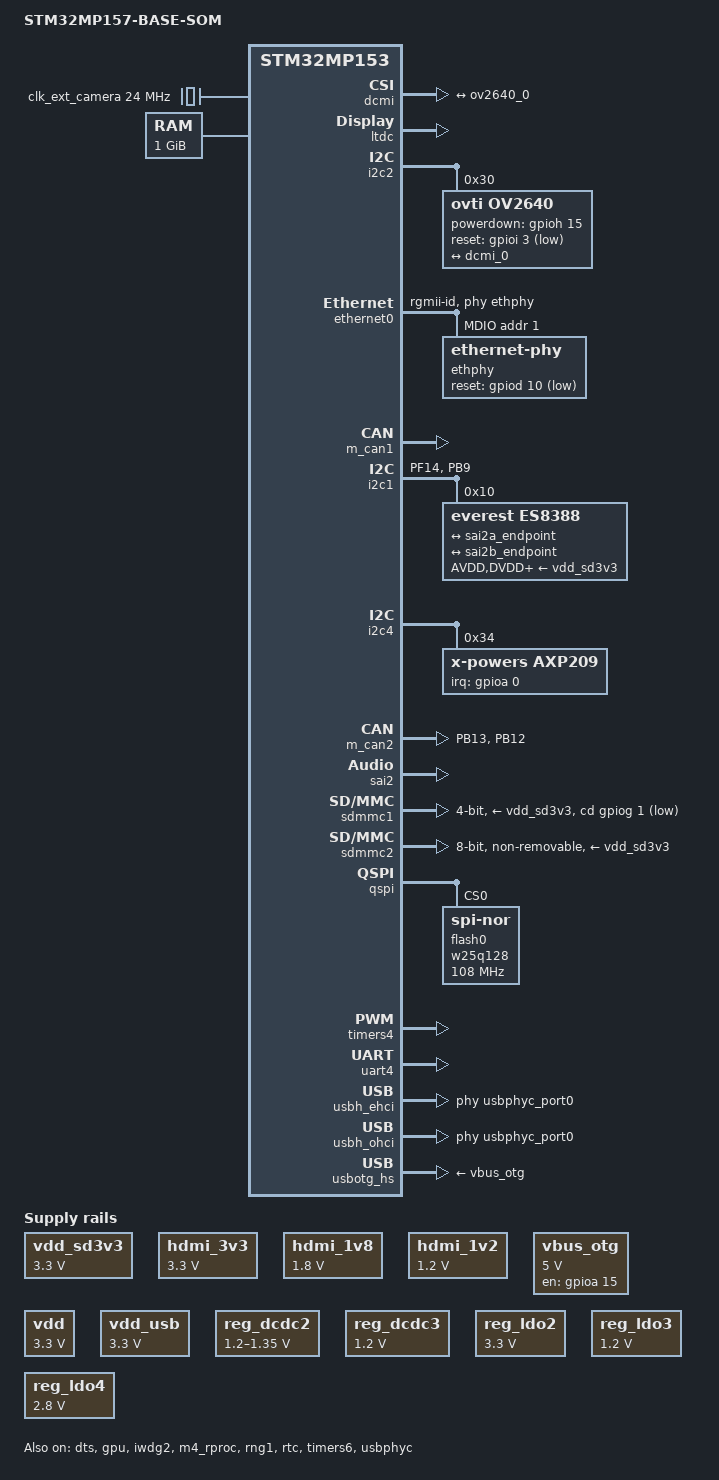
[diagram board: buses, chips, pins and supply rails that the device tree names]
// SPDX-License-Identifier: (GPL-2.0+ OR BSD-3-Clause)
/*
 * 
 * Author: Mitko Gamishev <gamishev@gmail.com>
 */
/dts-v1/;

#include "stm32mp157.dtsi"
#include "stm32mp15xc.dtsi"
#include "stm32mp15-pinctrl.dtsi"
#include "stm32mp15xxaa-pinctrl.dtsi"

#include <dt-bindings/gpio/gpio.h>
#include <dt-bindings/mfd/st,stpmic1.h>

/ {
	model = "STM32MP157-BASE-SOM";
	compatible = "olimex,stm32mp1xx-olinuxino-som-base" , "st,stm32mp153";
	aliases {
		ethernet0 = &ethernet0;
		serial0 = &uart4;
	};

	clocks {
                clk_ext_camera: clk-ext-camera {
                        #clock-cells = <0>;
                        compatible = "fixed-clock";
                        clock-frequency = <24000000>;
                };
        };

	chosen {
		stdout-path = "serial0:115200n8";
	};

	memory@c0000000 {
		device_type = "memory";
		reg = <0xC0000000 0x40000000>;
	};

	reserved-memory {
		#address-cells = <1>;
		#size-cells = <1>;
		ranges;

		mcuram2: mcuram2@10000000 {
			compatible = "shared-dma-pool";
			reg = <0x10000000 0x40000>;
			no-map;
		};

		vdev0vring0: vdev0vring0@10040000 {
			compatible = "shared-dma-pool";
			reg = <0x10040000 0x1000>;
			no-map;
		};

		vdev0vring1: vdev0vring1@10041000 {
			compatible = "shared-dma-pool";
			reg = <0x10041000 0x1000>;
			no-map;
		};

		vdev0buffer: vdev0buffer@10042000 {
			compatible = "shared-dma-pool";
			reg = <0x10042000 0x4000>;
			no-map;
		};

		mcuram: mcuram@30000000 {
			compatible = "shared-dma-pool";
			reg = <0x30000000 0x40000>;
			no-map;
		};

		retram: retram@38000000 {
			compatible = "shared-dma-pool";
			reg = <0x38000000 0x10000>;
			no-map;
		};

		gpu_reserved: gpu@e8000000 {
			reg = <0xe8000000 0x8000000>;
			no-map;
		};
	};

	vdd_sd3v3: regulator_vdd {
		compatible = "regulator-fixed";
		regulator-name = "vdd-sd";
		regulator-min-microvolt = <3300000>;
		regulator-max-microvolt = <3300000>;
		enable-active-high;
		regulator-always-on;
		regulator-initial-mode = <0>;
	};

	hdmi_3v3: regulator_hdmi {
		compatible = "regulator-fixed";
		regulator-name = "vdd-hdmi";
		regulator-min-microvolt = <3300000>;
		regulator-max-microvolt = <3300000>;
		enable-active-high;
		regulator-always-on;
		regulator-initial-mode = <0>;
	};

	hdmi_1v8: regulator_hdmi1v8 {
		compatible = "regulator-fixed";
		regulator-name = "vdd-hdmi1v8";
		regulator-min-microvolt = <1800000>;
		regulator-max-microvolt = <1800000>;
		enable-active-high;
		regulator-always-on;
		regulator-initial-mode = <0>;
	};


	hdmi_1v2: regulator_hdmi1v2 {
		compatible = "regulator-fixed";
		regulator-name = "vdd-hdmi1v2";
		regulator-min-microvolt = <1200000>;
		regulator-max-microvolt = <1200000>;
		enable-active-high;
		regulator-always-on;
		regulator-initial-mode = <0>;
	};


	vbus_otg: regulator_otg {
		compatible = "regulator-fixed";
		regulator-name = "vdd-otg";
		regulator-min-microvolt = <5000000>;
		regulator-max-microvolt = <5000000>;
		gpios = <&gpioa 15 GPIO_ACTIVE_LOW>;
		enable-active-high;
		regulator-initial-mode = <0>;
	};

	vdd: vdd {
		compatible = "regulator-fixed";
		regulator-name = "vdd";
		regulator-min-microvolt = <3300000>;
		regulator-max-microvolt = <3300000>;
		enable-active-high;
		regulator-always-on;
		regulator-initial-mode = <0>;
	};

	vdd_usb: vdd-usb {
		compatible = "regulator-fixed";
		regulator-name = "vdd-usb";
		regulator-min-microvolt = <3300000>;
		regulator-max-microvolt = <3300000>;
		enable-active-high;
		regulator-always-on;
		regulator-initial-mode = <0>;
	};
	
	sound {
                compatible = "audio-graph-card";
                label = "STM32MP1";
                routing =
                        "Playback" , "MCLK1",
			"Capture" , "MCLK1" ;
			
		dais = <&sai2a_port &sai2b_port>;
                status = "okay";
        };

};

&dcmi {
        status = "okay";
        pinctrl-names = "default", "sleep";
        pinctrl-0 = <&dcmi_pins_a>;
        pinctrl-1 = <&dcmi_sleep_pins_a>;

        port {
                dcmi_0: endpoint {
                        remote-endpoint = <&ov2640_0>;
                        bus-width = <8>;
                        hsync-active = <1>;
                        vsync-active = <0>;
                        pclk-sample = <1>;
                };
        };
};

&dts {
	status = "okay";
};

&ltdc {
	pinctrl-names = "default", "sleep";
	pinctrl-0 = <&ltdc_pins_b>;
	pinctrl-1 = <&ltdc_sleep_pins_b>;
	status = "okay";
};

&i2c2 {
        pinctrl-names = "default", "sleep";
        pinctrl-0 = <&i2c2_pins_a>;
        status = "okay";

        ov2640: camera@30 {
                compatible = "ovti,ov2640";
                reg = <0x30>;
		pinctrl-names = "default";
                pinctrl-0 = <&mco1_pin_a>;
		clocks = <&rcc CK_MCO1>;
		assigned-clock-rates = <24000000>;
                clock-names = "xvclk";

                powerdown-gpios = <&gpioh 15 (GPIO_ACTIVE_HIGH | GPIO_PUSH_PULL)>;
                reset-gpios = <&gpioi 3  (GPIO_ACTIVE_LOW | GPIO_PUSH_PULL)>;
                status = "okay";

                port {
                        ov2640_0: endpoint {
                                remote-endpoint = <&dcmi_0>;
                                bus-width = <8>;
                                hsync-active = <1>;
                                vsync-active = <0>;
                                pclk-sample = <1>;
                        };
                };
        };
};

&ethernet0 {
	status = "okay";
	pinctrl-0 = <&ethernet0_rgmii_pins_a>;
	pinctrl-1 = <&ethernet0_rgmii_sleep_pins_a>;
	pinctrl-names = "default", "sleep";
	phy-mode = "rgmii-id";
	phy-handle = <&ethphy>;

	mdio0 {
		compatible = "snps,dwmac-mdio";
		#address-cells = <1>;
		#size-cells = <0>;
		ethphy: ethernet-phy@1 {
			reg = <1>;
			reset-gpios = <&gpiod 10 GPIO_ACTIVE_LOW>; /* ETH_RST# */
			reset-assert-us = <10000>;
			reset-deassert-us = <300>;
			micrel,force-master;
		};
	};
};

&gpu {
	contiguous-area = <&gpu_reserved>;
	status = "okay";
};

&m_can1 {
	pinctrl-names = "default", "sleep";
	pinctrl-0 = <&m_can1_pins_a>;
	pinctrl-1 = <&m_can1_sleep_pins_a>;
	status = "okay";
};

&i2c1 {
	pinctrl-names = "default";
	pinctrl-0 = <&i2c1_pins_lime>;
	i2c-scl-rising-time-ns = <185>;
	i2c-scl-falling-time-ns = <20>;
	status = "okay";
	/* spare dmas for other usage */
	/delete-property/dmas;
	/delete-property/dma-names;
};

&i2c4 {
	pinctrl-names = "default";
	pinctrl-0 = <&i2c4_pins_a>;
	i2c-scl-rising-time-ns = <185>;
	i2c-scl-falling-time-ns = <20>;
	status = "okay";
	/* spare dmas for other usage */
	/delete-property/dmas;
	/delete-property/dma-names;
	/* it66121hdmitx: it66121hdmitx@4d {
                compatible = "ite,it66121";
                interrupts = <8 2>;
                interrupt-parent = <&gpioi>;
                vcn33-supply = <&hdmi_3v3>;
                vcn18-supply = <&hdmi_1v8>;
                vrf12-supply = <&hdmi_1v2>;
                reset-gpios = <&gpiof 3  GPIO_ACTIVE_LOW >;
                reg = <0x4d>;
                pclk-dual-edge;

                port {
                        it66121_in: endpoint {
                                remote-endpoint = <&ltdc_ep0_out>;
                        };
                };
        };
	*/
	axp209: pmic@34 {
		compatible = "x-powers,axp209";
		reg = <0x34>;
		interrupt-parent = <&gpioa>;
		interrupts = <0 IRQ_TYPE_LEVEL_LOW>;
	};
 
};

&m_can1 {
        pinctrl-names = "default", "sleep";
        pinctrl-0 = <&m_can1_pins_a>;
        pinctrl-1 = <&m_can1_sleep_pins_a>;
        status = "okay";
};

&m_can2 {
        pinctrl-names = "default", "sleep";
        pinctrl-0 = <&m_can2_pins_base>;
        pinctrl-1 = <&m_can2_sleep_pins_base>;
        status = "okay";
};

&sai2 {
        clocks = <&rcc SAI2>, <&rcc PLL3_Q>, <&rcc PLL3_R>;
        clock-names = "pclk", "x8k", "x11k";
        pinctrl-names = "default", "sleep";
        pinctrl-0 = <&sai2a_pins_a>, <&sai2b_pins_b>;
        pinctrl-1 = <&sai2a_sleep_pins_a>, <&sai2b_sleep_pins_b>;
        status = "okay";

	sai2a: audio-controller@4400b004 {
		compatible = "st,stm32-sai-sub-a";
                #clock-cells = <0>;
                dma-names = "tx";
                clocks = <&rcc SAI2_K>;
                clock-names = "sai_ck";
                status = "okay";
 
          
      		sai2a_port: port {
                        sai2a_endpoint: endpoint {
                                remote-endpoint = <&es8388_tx_endpoint>;
                                format = "i2s";
				mclk-fs = <256>;
                        };
			
                };
        };

    	sai2b: audio-controller@4400b024 {
                dma-names = "rx";
				compatible = "st,stm32-sai-sub-b";
                //st,sync = <&sai2a 2>;
                clocks = <&rcc SAI2_K>, <&sai2a>;
                clock-names = "sai_ck", "MCLK";
                status = "okay";

                sai2b_port: port {
                        sai2b_endpoint: endpoint {
                                remote-endpoint = <&es8388_rx_endpoint>;
                                format = "i2s";
                                mclk-fs = <256>;
                        };
                };
        };

};

&pinctrl {
        i2c1_pins_base: i2c1-0-base {
                pins {
                        pinmux = <STM32_PINMUX('F', 14, AF5)>, /* I2C1_SCL */
                                 <STM32_PINMUX('B', 9, AF4)>; /* I2C1_SDA */
                        bias-disable;
                        drive-open-drain;
                        slew-rate = <0>;
                };
        };

        i2c1_sleep_pins_base: i2c1-sleep-base {
                pins {
                        pinmux = <STM32_PINMUX('F', 14, ANALOG)>, /* I2C1_SCL */
                                 <STM32_PINMUX('B', 9, ANALOG)>; /* I2C1_SDA */
                };
        };
	
	m_can2_pins_base: m-can2-0 {
                pins1 {
                        pinmux = <STM32_PINMUX('B', 13, AF9)>; /* CAN2_TX */
                        slew-rate = <1>;
                        drive-push-pull;
                        bias-disable;
                };
                pins2 {
                        pinmux = <STM32_PINMUX('B', 12, AF9)>; /* CAN2_RX */
                        bias-disable;
                };
        };

        m_can2_sleep_pins_base: m_can2-sleep-0 {
                pins {
                        pinmux = <STM32_PINMUX('B', 13, ANALOG)>, /* CAN2_TX */
                                 <STM32_PINMUX('B', 12, ANALOG)>; /* CAN2_RX */
                };
        };
	
	 usart3_pins_base: usart3-3 {
                pins1 {
                        pinmux = <STM32_PINMUX('B', 10, AF7)>; /* USART3_TX */
                        bias-disable;
                        drive-push-pull;
                        slew-rate = <0>;
                };
                pins2 {
                        pinmux = <STM32_PINMUX('D', 9, AF7)>; /* USART3_RX */
                        bias-disable;
                };
        };

        usart3_idle_pins_base: usart3-idle-3 {
                pins1 {
                        pinmux = <STM32_PINMUX('B', 10, ANALOG)>; /* USART3_TX */
                };
                pins2 {
                        pinmux = <STM32_PINMUX('D', 9, AF7)>; /* USART3_RX */
                        bias-disable;
                };
        };
	
	 mco1_pin_a: mco1-pin-a {
                pins {
                pinmux = <STM32_PINMUX('A', 13, AF2)>;
              };
	};

};

&i2c1 {
        pinctrl-names = "default", "sleep";
        pinctrl-0 = <&i2c1_pins_base>;
        pinctrl-1 = <&i2c1_sleep_pins_base>;
        status = "okay";
        /delete-property/dmas;
        /delete-property/dma-names;
	
	es8388: es8388@10 {
                compatible = "everest,es8388", "everest,es8328";
                reg = <0x10>;
                AVDD-supply = <&vdd_sd3v3>;
                DVDD-supply = <&vdd_sd3v3>;
                HPVDD-supply = <&vdd_sd3v3>;
                PVDD-supply = <&vdd_sd3v3>;
                clocks = <&sai2a>; 
                clock-names = "MCLK1";
       		 es8388_port: port@0 {
                        #address-cells = <1>;
                        #size-cells = <0>;
                es8388_tx_endpoint: endpoint@0 {
					        remote-endpoint = <&sai2a_endpoint>;
                        };

				es8388_rx_endpoint: endpoint@1 {
                            remote-endpoint = <&sai2b_endpoint>;
                        };

                };
		
 
        };

};

&ipcc {
	status = "okay";
};

&iwdg2 {
	timeout-sec = <32>;
	status = "okay";
};

&m4_rproc {
	memory-region = <&retram>, <&mcuram>, <&mcuram2>, <&vdev0vring0>,
			<&vdev0vring1>, <&vdev0buffer>;
	mboxes = <&ipcc 0>, <&ipcc 1>, <&ipcc 2>;
	mbox-names = "vq0", "vq1", "shutdown";
	interrupt-parent = <&exti>;
	interrupts = <68 1>;
	status = "okay";
};

&pwr_regulators {
	vdd-supply = <&vdd>;
	vdd_3v3_usbfs-supply = <&vdd_usb>;
};
#include "axp209.dtsi"

&ac_power_supply {
	status = "okay";
};

&battery_power_supply {
	status = "okay";
};


&reg_dcdc2 {
	regulator-name = "vddcore";
	regulator-min-microvolt = <1200000>;
	regulator-max-microvolt = <1350000>;
	regulator-always-on;
};

&reg_dcdc3 {
	regulator-always-on;
	regulator-min-microvolt = <1200000>; //vdd-hdmi
	regulator-max-microvolt = <1200000>;
	regulator-name = "vcc-hdmi";
};

&reg_ldo1 {
	regulator-name = "vdd-rtc";
};

&reg_ldo2 {
	regulator-always-on;
	regulator-min-microvolt = <3300000>;
	regulator-max-microvolt = <3300000>;
	regulator-name = "avcc"; //avcc vcc-flash
};


&reg_ldo3 {
	regulator-always-on;
	regulator-min-microvolt = <1200000>;
	regulator-max-microvolt = <1200000>;
	regulator-name = "vcc-hdmi"; //avcc
};


&reg_ldo4 {
	regulator-always-on;
	regulator-min-microvolt = <2800000>;
	regulator-max-microvolt = <2800000>;
	regulator-name = "28v1"; //avcc
};


&rng1 {
	status = "okay";
};

&rtc {
	status = "okay";
};

&sdmmc1 {
        pinctrl-names = "default", "opendrain", "sleep";
        pinctrl-0 = <&sdmmc1_b4_pins_a>;
        pinctrl-1 = <&sdmmc1_b4_od_pins_a>;
        pinctrl-2 = <&sdmmc1_b4_sleep_pins_a>;
        cd-gpios = <&gpiog 1 (GPIO_ACTIVE_LOW | GPIO_PULL_UP)>;
        disable-wp;
	st,neg-edge;
        bus-width = <4>;
        vmmc-supply = <&vdd_sd3v3>;
        vqmmc-supply = <&vdd_sd3v3>;
        status = "okay";
};

&sdmmc2 {
	pinctrl-names = "default", "opendrain", "sleep";
	pinctrl-0 = <&sdmmc2_b4_pins_a &sdmmc2_d47_pins_a>;
	pinctrl-1 = <&sdmmc2_b4_od_pins_a &sdmmc2_d47_pins_a>;
	pinctrl-2 = <&sdmmc2_b4_sleep_pins_a &sdmmc2_d47_sleep_pins_a>;
	non-removable;
	st,neg-edge;
	bus-width = <8>;
	vmmc-supply = <&vdd_sd3v3>;
	vqmmc-supply = <&vdd_sd3v3>;
	status = "okay";
};

&qspi {
	pinctrl-names = "default", "sleep";
	pinctrl-0 = <&qspi_clk_pins_a &qspi_bk1_pins_a &qspi_bk2_pins_a>;
	pinctrl-1 = <&qspi_clk_sleep_pins_a &qspi_bk1_sleep_pins_a &qspi_bk2_sleep_pins_a>;
	reg = <0x58003000 0x1000>, <0x70000000 0x4000000>;
	#address-cells = <1>;
	#size-cells = <0>;
	status = "okay";

	flash0: w25q128@0 {
		compatible = "jedec,spi-nor", "winbond,w25q128";
		reg = <0>;
		spi-rx-bus-width = <4>;
		spi-max-frequency = <108000000>;
		#address-cells = <1>;
		#size-cells = <1>;
	};
};

&timers6 {
	status = "okay";
	/* spare dmas for other usage */
	/delete-property/dmas;
	/delete-property/dma-names;
	timer@5 {
		status = "okay";
	};
};

&timers4 {
	/delete-property/dmas;
	/delete-property/dma-names;
	status = "okay";

	pwm4: pwm {
		pinctrl-0 = <&pwm4_pins_b>;
		pinctrl-names = "default";
		status = "okay";
	};

	timer@1 {
		status = "okay";
	};
};

&uart4 {
	pinctrl-names = "default";
	pinctrl-0 = <&uart4_pins_a>;
	status = "okay";
};

&usbphyc {
	status = "okay";
};

&usbphyc_port0 {
	phy-supply = <&vdd_usb>;
};

&usbphyc_port1 {
	phy-supply = <&vdd_usb>;
};

&usbh_ehci {
	phys = <&usbphyc_port0>, <&usbphyc_port1 1>;
	phy-names = "usb", "usb";
	status = "okay";
};

&usbh_ohci {
	phys = <&usbphyc_port0>, <&usbphyc_port1 1>;
	phy-names = "usb", "usb";
	status = "okay";
};

&usbotg_hs {
	compatible = "st,stm32mp15-fsotg", "snps,dwc2";			/* Use full-speed integrated PHY */
	pinctrl-names = "default";
	pinctrl-0 = <&usbotg_hs_pins_a &usbotg_fs_dp_dm_pins_a>;	/* configure OTG ID and full-speed data pins */
	vbus-supply = <&vbus_otg>;					/* voltage regulator to supply Vbus */
	status = "okay";
};

